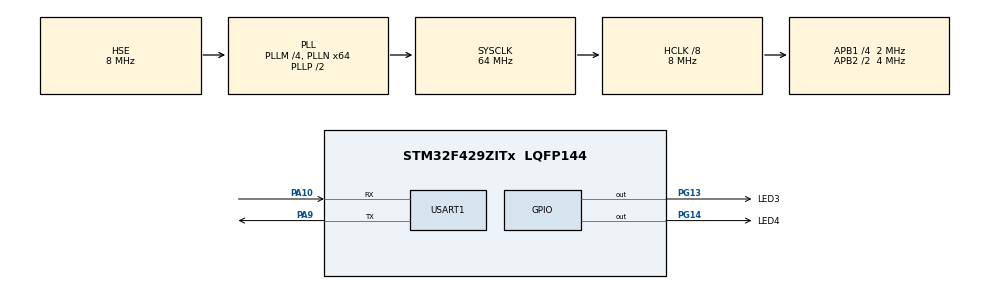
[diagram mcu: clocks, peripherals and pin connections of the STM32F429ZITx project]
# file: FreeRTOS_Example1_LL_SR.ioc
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FREERTOS.Tasks01=defaultTask,0,128,StartDefaultTask,Default,NULL,Dynamic,NULL,NULL
Mcu.Family=STM32F4
Mcu.Name=STM32F429ZITx
Mcu.Package=LQFP144
NVIC.PriorityGroup=NVIC_PRIORITYGROUP_4
NVIC.TIM6_DAC_IRQn=true\:0\:0\:false\:false\:true\:false\:false\:true
NVIC.TimeBase=TIM6_DAC_IRQn
NVIC.TimeBaseIP=TIM6
PA10.Mode=Asynchronous
PA10.Signal=USART1_RX
PA13.Mode=Trace_Asynchronous_SW
PA13.Signal=SYS_JTMS-SWDIO
PA14.Mode=Trace_Asynchronous_SW
PA14.Signal=SYS_JTCK-SWCLK
PA9.Mode=Asynchronous
PA9.Signal=USART1_TX
PB3.Mode=Trace_Asynchronous_SW
PB3.Signal=SYS_JTDO-SWO
PG13.GPIO_Label=LED3
PG13.Signal=GPIO_Output
PG14.GPIO_Label=LED4
PG14.Signal=GPIO_Output
PH0/OSC_IN.Mode=HSE-External-Oscillator
PH0/OSC_IN.Signal=RCC_OSC_IN
PH1/OSC_OUT.Mode=HSE-External-Oscillator
PH1/OSC_OUT.Signal=RCC_OSC_OUT
ProjectManager.HeapSize=0x200
ProjectManager.StackSize=0x400
ProjectManager.TargetToolchain=TrueSTUDIO
RCC.48MHZClocksFreq_Value=32000000
RCC.AHBCLKDivider=RCC_SYSCLK_DIV8
RCC.AHBFreq_Value=8000000
RCC.APB1CLKDivider=RCC_HCLK_DIV4
RCC.APB1Freq_Value=2000000
RCC.APB1TimFreq_Value=4000000
RCC.APB2CLKDivider=RCC_HCLK_DIV2
RCC.APB2Freq_Value=4000000
RCC.APB2TimFreq_Value=8000000
RCC.CortexFreq_Value=8000000
RCC.HCLKFreq_Value=8000000
RCC.HSE_VALUE=8000000
RCC.HSI_VALUE=16000000
RCC.LSE_VALUE=32768
RCC.PLLM=4
RCC.PLLN=64
RCC.PLLSourceVirtual=RCC_PLLSOURCE_HSE
RCC.SYSCLKFreq_VALUE=64000000
RCC.SYSCLKSource=RCC_SYSCLKSOURCE_PLLCLK
RCC.VCOOutputFreq_Value=128000000
USART1.VirtualMode=VM_ASYNC
VP_FREERTOS_VS_CMSIS_V1.Mode=CMSIS_V1
VP_SYS_VS_tim6.Mode=TIM6
board=custom

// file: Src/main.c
/* USER CODE BEGIN Header */
/**
  ******************************************************************************
  * @file           : main.c
  * @brief          : Main program body
  ******************************************************************************
  * @attention
  *
  * <h2><center>&copy; Copyright (c) 2019 STMicroelectronics.
  * All rights reserved.</center></h2>
  *
  * This software component is licensed by ST under Ultimate Liberty license
  * SLA0044, the "License"; You may not use this file except in compliance with
  * the License. You may obtain a copy of the License at:
  *                             www.st.com/SLA0044
  *
  ******************************************************************************
  */
/* USER CODE END Header */

#include "main.h"
#include "cmsis_os.h"

/* USER CODE BEGIN Includes */
#include <stdio.h>
#include <string.h>
/* USER CODE END Includes */

/* USER CODE BEGIN PD */
#define mainDELAY_LOOP_COUNT    (800)

/* USER CODE END PD */

osThreadId defaultTaskHandle;

void SystemClock_Config(void);
static void MX_GPIO_Init(void);
static void MX_USART1_UART_Init(void);
void StartDefaultTask(void const * argument);

/* USER CODE BEGIN 0 */
void vTask1(void* pvParameters);
void vTask2(void* pvParameters);
/* USER CODE END 0 */

int main(void)
{

  /* MCU Configuration--------------------------------------------------------*/

  /* Reset of all peripherals, Initializes the Flash interface and the Systick. */
  HAL_Init();

  /* Configure the system clock */
  SystemClock_Config();

  /* Initialize all configured peripherals */
  MX_GPIO_Init();
  MX_USART1_UART_Init();

  /* Create the thread(s) */
  /* definition and creation of defaultTask */
  osThreadDef(defaultTask, StartDefaultTask, osPriorityNormal, 0, 128);
  defaultTaskHandle = osThreadCreate(osThread(defaultTask), NULL);

  /* USER CODE BEGIN RTOS_THREADS */
  /* add threads, ... */
  xTaskCreate(vTask1, "Task1", 1000, NULL, 1, NULL); // Priority1
  xTaskCreate(vTask2, "Task2", 1000, NULL, 1, NULL); // Priority2
  /* USER CODE END RTOS_THREADS */

  /* Start scheduler */
  osKernelStart();

  /* We should never get here as control is now taken by the scheduler */

  /* Infinite loop */
  while (1)
  {

  }
}

void SystemClock_Config(void)
{
  RCC_OscInitTypeDef RCC_OscInitStruct = {0};
  RCC_ClkInitTypeDef RCC_ClkInitStruct = {0};

  /** Configure the main internal regulator output voltage
  */
  __HAL_RCC_PWR_CLK_ENABLE();
  __HAL_PWR_VOLTAGESCALING_CONFIG(PWR_REGULATOR_VOLTAGE_SCALE3);
  /** Initializes the CPU, AHB and APB busses clocks
  */
  RCC_OscInitStruct.OscillatorType = RCC_OSCILLATORTYPE_HSE;
  RCC_OscInitStruct.HSEState = RCC_HSE_ON;
  RCC_OscInitStruct.PLL.PLLState = RCC_PLL_ON;
  RCC_OscInitStruct.PLL.PLLSource = RCC_PLLSOURCE_HSE;
  RCC_OscInitStruct.PLL.PLLM = 4;
  RCC_OscInitStruct.PLL.PLLN = 64;
  RCC_OscInitStruct.PLL.PLLP = RCC_PLLP_DIV2;
  RCC_OscInitStruct.PLL.PLLQ = 4;
  if (HAL_RCC_OscConfig(&RCC_OscInitStruct) != HAL_OK)
  {
    Error_Handler();
  }
  /** Initializes the CPU, AHB and APB busses clocks
  */
  RCC_ClkInitStruct.ClockType = RCC_CLOCKTYPE_HCLK|RCC_CLOCKTYPE_SYSCLK
                              |RCC_CLOCKTYPE_PCLK1|RCC_CLOCKTYPE_PCLK2;
  RCC_ClkInitStruct.SYSCLKSource = RCC_SYSCLKSOURCE_PLLCLK;
  RCC_ClkInitStruct.AHBCLKDivider = RCC_SYSCLK_DIV8;
  RCC_ClkInitStruct.APB1CLKDivider = RCC_HCLK_DIV4;
  RCC_ClkInitStruct.APB2CLKDivider = RCC_HCLK_DIV2;

  if (HAL_RCC_ClockConfig(&RCC_ClkInitStruct, FLASH_LATENCY_0) != HAL_OK)
  {
    Error_Handler();
  }
}

static void MX_USART1_UART_Init(void)
{

  LL_USART_InitTypeDef USART_InitStruct = {0};

  LL_GPIO_InitTypeDef GPIO_InitStruct = {0};

  /* Peripheral clock enable */
  LL_APB2_GRP1_EnableClock(LL_APB2_GRP1_PERIPH_USART1);

  LL_AHB1_GRP1_EnableClock(LL_AHB1_GRP1_PERIPH_GPIOA);
  /**USART1 GPIO Configuration
  PA9   ------> USART1_TX
  PA10   ------> USART1_RX
  */
  GPIO_InitStruct.Pin = LL_GPIO_PIN_9|LL_GPIO_PIN_10;
  GPIO_InitStruct.Mode = LL_GPIO_MODE_ALTERNATE;
  GPIO_InitStruct.Speed = LL_GPIO_SPEED_FREQ_VERY_HIGH;
  GPIO_InitStruct.OutputType = LL_GPIO_OUTPUT_PUSHPULL;
  GPIO_InitStruct.Pull = LL_GPIO_PULL_UP;
  GPIO_InitStruct.Alternate = LL_GPIO_AF_7;
  LL_GPIO_Init(GPIOA, &GPIO_InitStruct);

  USART_InitStruct.BaudRate = 115200;
  USART_InitStruct.DataWidth = LL_USART_DATAWIDTH_8B;
  USART_InitStruct.StopBits = LL_USART_STOPBITS_1;
  USART_InitStruct.Parity = LL_USART_PARITY_NONE;
  USART_InitStruct.TransferDirection = LL_USART_DIRECTION_TX_RX;
  USART_InitStruct.HardwareFlowControl = LL_USART_HWCONTROL_NONE;
  USART_InitStruct.OverSampling = LL_USART_OVERSAMPLING_16;
  LL_USART_Init(USART1, &USART_InitStruct);
  LL_USART_ConfigAsyncMode(USART1);
  LL_USART_Enable(USART1);

}

static void MX_GPIO_Init(void)
{
  GPIO_InitTypeDef GPIO_InitStruct = {0};

  /* GPIO Ports Clock Enable */
  __HAL_RCC_GPIOH_CLK_ENABLE();
  __HAL_RCC_GPIOA_CLK_ENABLE();
  __HAL_RCC_GPIOG_CLK_ENABLE();
  __HAL_RCC_GPIOB_CLK_ENABLE();

  /*Configure GPIO pin Output Level */
  HAL_GPIO_WritePin(GPIOG, LED3_Pin|LED4_Pin, GPIO_PIN_RESET);

  /*Configure GPIO pins : LED3_Pin LED4_Pin */
  GPIO_InitStruct.Pin = LED3_Pin|LED4_Pin;
  GPIO_InitStruct.Mode = GPIO_MODE_OUTPUT_PP;
  GPIO_InitStruct.Pull = GPIO_NOPULL;
  GPIO_InitStruct.Speed = GPIO_SPEED_FREQ_LOW;
  HAL_GPIO_Init(GPIOG, &GPIO_InitStruct);

}

/* USER CODE BEGIN 4 */
void vPrintString(char *pStr)
{
    while(*pStr){
        while(!LL_USART_IsActiveFlag_TXE(USART1));
        LL_USART_TransmitData8(USART1, *pStr);
        pStr++;
    }
}

void vTask1(void *pvParameters)
{
    volatile unsigned long ul;

    for(;;)
    {
    	HAL_GPIO_WritePin(LED3_GPIO_Port, LED3_Pin, GPIO_PIN_SET);

    	//vTaskSuspendAll();											/* ----- Task Suspend BEIGN ----- */
    	vPrintString("Task 1 is running\r\n");
    	//xTaskResumeAll();												/* ----- Task Resume All ----- */

    	for(ul = 0; ul < mainDELAY_LOOP_COUNT; ul++);
      HAL_GPIO_WritePin(LED3_GPIO_Port, LED3_Pin, GPIO_PIN_RESET);
    }
}

void vTask2(void *pvParameters)
{
    volatile unsigned long ul;
    HAL_GPIO_WritePin(LED4_GPIO_Port, LED4_Pin, GPIO_PIN_SET);

    for(;;)
    {
    	HAL_GPIO_WritePin(LED4_GPIO_Port, LED4_Pin, GPIO_PIN_SET);

    	//vTaskSuspendAll();											/* ----- Task Suspend BEIGN ----- */
    	vPrintString("Task 2 is running\r\n");
    	//xTaskResumeAll();												/* ----- Task Resume All ----- */

      for(ul = 0; ul < mainDELAY_LOOP_COUNT; ul++);
      HAL_GPIO_WritePin(LED4_GPIO_Port, LED4_Pin, GPIO_PIN_RESET);
    }
}

/* USER CODE END 4 */

void StartDefaultTask(void const * argument)
{

  for(;;)
  {
    osDelay(1);
  }
}

void HAL_TIM_PeriodElapsedCallback(TIM_HandleTypeDef *htim)
{
  if (htim->Instance == TIM6) {
    HAL_IncTick();
  }
}

void Error_Handler(void)
{
}

/************************ (C) COPYRIGHT STMicroelectronics *****END OF FILE****/
